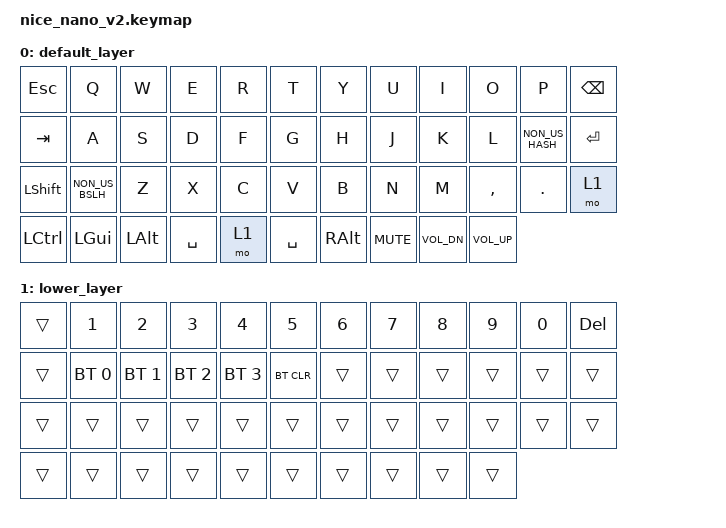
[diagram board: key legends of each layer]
#include <behaviors.dtsi>
#include <dt-bindings/zmk/keys.h>
#include <dt-bindings/zmk/bt.h>

/ {
    chosen {
        zmk,keymap = &keymap0;
    };

    keymap0: keymap {
        compatible = "zmk,keymap";

        default_layer {
            bindings = <
                &kp ESC  &kp Q  &kp W  &kp E  &kp R  &kp T  &kp Y  &kp U  &kp I  &kp O  &kp P  &kp BSPC
                &kp TAB  &kp A  &kp S  &kp D  &kp F  &kp G  &kp H  &kp J  &kp K  &kp L  &kp NON_US_HASH &kp ENTER
                &kp LSHFT &kp NON_US_BSLH &kp Z &kp X &kp C &kp V &kp B &kp N &kp M &kp COMMA &kp DOT &mo 1
                &kp LCTRL &kp LGUI &kp LALT &kp SPACE &mo 1 &kp SPACE &kp RALT &kp C_MUTE &kp C_VOL_DN &kp C_VOL_UP
            >;
        };

        lower_layer {
            bindings = <
                &trans &kp N1 &kp N2 &kp N3 &kp N4 &kp N5 &kp N6 &kp N7 &kp N8 &kp N9 &kp N0 &kp DEL
                &trans &bt BT_SEL 0 &bt BT_SEL 1 &bt BT_SEL 2 &bt BT_SEL 3 &bt BT_CLR &trans &trans &trans &trans &trans &trans
                &trans &trans &trans &trans &trans &trans &trans &trans &trans &trans &trans &trans
                &trans &trans &trans &trans &trans &trans &trans &trans &trans &trans
            >;
        };
    };
};
